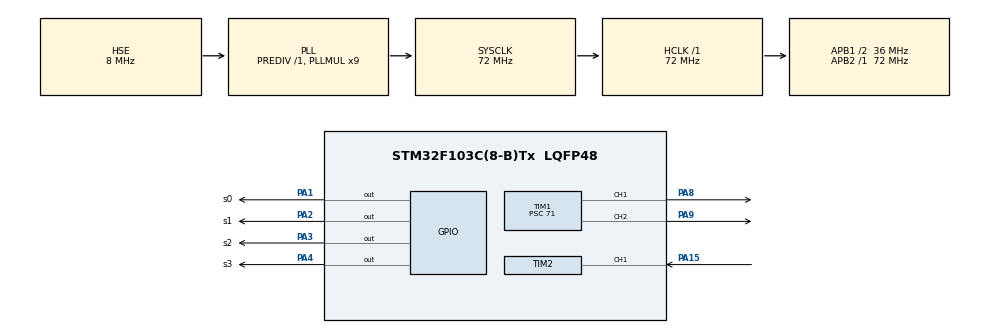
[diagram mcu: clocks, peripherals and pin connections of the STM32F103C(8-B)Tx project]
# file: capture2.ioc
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Mcu.Family=STM32F1
Mcu.Name=STM32F103C(8-B)Tx
Mcu.Package=LQFP48
NVIC.PriorityGroup=NVIC_PRIORITYGROUP_4
NVIC.TIM1_CC_IRQn=true\:0\:0\:false\:false\:true\:true\:true\:true
NVIC.TIM2_IRQn=true\:0\:0\:false\:false\:true\:true\:true\:true
PA1.GPIO_Label=s0
PA1.Signal=GPIO_Output
PA13.Mode=Serial_Wire
PA13.Signal=SYS_JTMS-SWDIO
PA14.Mode=Serial_Wire
PA14.Signal=SYS_JTCK-SWCLK
PA15.Signal=S_TIM2_CH1_ETR
PA2.GPIO_Label=s1
PA2.Signal=GPIO_Output
PA3.GPIO_Label=s2
PA3.Signal=GPIO_Output
PA4.GPIO_Label=s3
PA4.Signal=GPIO_Output
PA8.Signal=S_TIM1_CH1
PA9.Signal=S_TIM1_CH2
PD0-OSC_IN.Mode=HSE-External-Oscillator
PD0-OSC_IN.Signal=RCC_OSC_IN
PD1-OSC_OUT.Mode=HSE-External-Oscillator
PD1-OSC_OUT.Signal=RCC_OSC_OUT
ProjectManager.HeapSize=0x200
ProjectManager.StackSize=0x400
ProjectManager.TargetToolchain=MDK-ARM V5
RCC.AHBFreq_Value=72000000
RCC.APB1CLKDivider=RCC_HCLK_DIV2
RCC.APB1Freq_Value=36000000
RCC.APB1TimFreq_Value=72000000
RCC.APB2Freq_Value=72000000
RCC.APB2TimFreq_Value=72000000
RCC.HCLKFreq_Value=72000000
RCC.PLLMUL=RCC_PLL_MUL9
RCC.PLLSourceVirtual=RCC_PLLSOURCE_HSE
RCC.SYSCLKFreq_VALUE=72000000
RCC.SYSCLKSource=RCC_SYSCLKSOURCE_PLLCLK
RCC.USBFreq_Value=72000000
SH.S_TIM1_CH1.0=TIM1_CH1,PWM Generation1 CH1
SH.S_TIM1_CH2.0=TIM1_CH2,PWM Generation2 CH2
SH.S_TIM2_CH1_ETR.0=TIM2_CH1,Input_Capture1_from_TI1
TIM1.Channel-PWM\ Generation1\ CH1=TIM_CHANNEL_1
TIM1.Channel-PWM\ Generation2\ CH2=TIM_CHANNEL_2
TIM1.Prescaler=71
TIM2.Channel-Input_Capture1_from_TI1=TIM_CHANNEL_1
TIM2.Prescaler=71
VP_TIM1_VS_ClockSourceINT.Mode=Internal
VP_TIM2_VS_ClockSourceINT.Mode=Internal
board=custom

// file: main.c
/* USER CODE BEGIN Header */
/**
  ******************************************************************************
  * @file           : main.c
  * @brief          : Main program body
  ******************************************************************************
  * @attention
  *
  * Copyright (c) 2025 STMicroelectronics.
  * All rights reserved.
  *
  * This software is licensed under terms that can be found in the LICENSE file
  * in the root directory of this software component.
  * If no LICENSE file comes with this software, it is provided AS-IS.
  *
  ******************************************************************************
  */
/* USER CODE END Header */
#include "main.h"

TIM_HandleTypeDef htim1;
TIM_HandleTypeDef htim2;

void SystemClock_Config(void);
static void MX_GPIO_Init(void);
static void MX_TIM1_Init(void);
static void MX_TIM2_Init(void);

/* USER CODE BEGIN 0 */
uint32_t IC_Val1 = 0;
uint32_t IC_Val2 = 0;
uint32_t Difference = 0;
uint8_t Is_First_Captured = 0;  // flag

uint32_t r = 0;
uint32_t g = 0;
uint32_t b = 0;
//uint32_t clear = 0 ;
uint32_t mau = -1;
int color[4][6] = {0};
int goc = -1;
//uint32_t n_r = 0;
//uint32_t n_g = 0;
//uint32_t n_b = 0;

void Servo_Init(){
	HAL_TIM_PWM_Start(&htim1 ,TIM_CHANNEL_1);
	HAL_TIM_PWM_Start(&htim1 ,TIM_CHANNEL_2);
}

void initColor(){

////////////////////////mau do
  color[0][0] =  90; //Min R
  color[0][1] =  115; //Max R

  color[0][2] =  150;//Min G
  color[0][3] =  200; //Max G

  color[0][4] =   105;//Min B
  color[0][5] =   140;//Max B
////////////////////////////////// mau xanh
  color[1][0] =  160; //Min R
  color[1][1] =  240; //Max R

  color[1][2] =  100;//Min G
  color[1][3] =  150; //Max G

  color[1][4] =   55;//Min B
  color[1][5] =   90;//Max B
//////////////////////////////////// xanh la
  color[2][0] =  150; //Min R
  color[2][1] =  180; //Max R

  color[2][2] =  115;//Min G
  color[2][3] =  140; //Max G

  color[2][4] =   115;//Min B
  color[2][5] =   140;//Max B
/////////////////////////////////////// mau vang
	color[3][0] =  55; //Min R
  color[3][1] =  90; //Max R

  color[3][2] =  70;//Min G
  color[3][3] =  100; //Max G

  color[3][4] =   95;//Min B
  color[3][5] =   120;//Max B
}

void Servo1_Write(uint8_t goc){
	 // 0 -> 180 = 1000 -> 2000
		uint16_t _ccr1 = (1500 * goc) / 180 + 800;
		htim1.Instance->CCR1 = _ccr1;
}
void Servo2_Write(uint8_t goc){
	 // 0 -> 180 = 1000 -> 2000
		uint16_t _ccr2 = (1500 * goc) / 180 + 800;
		htim1.Instance->CCR2 = _ccr2;
}

void Sensor_Init(){
	HAL_TIM_IC_Start_IT(&htim2, TIM_CHANNEL_1);
	HAL_GPIO_WritePin( s0_GPIO_Port, s0_Pin, 1); // chon chia tan so 20%
	HAL_GPIO_WritePin( s1_GPIO_Port, s1_Pin, 0); //0
}

void HAL_TIM_IC_CaptureCallback(TIM_HandleTypeDef *htim)
{
    if(htim->Channel == HAL_TIM_ACTIVE_CHANNEL_1)
    {
        if(Is_First_Captured == 0)
        {
            IC_Val1 = HAL_TIM_ReadCapturedValue(htim, TIM_CHANNEL_1);
            Is_First_Captured = 1;
        }
        else
        {
            IC_Val2 = HAL_TIM_ReadCapturedValue(htim, TIM_CHANNEL_1);
            if(IC_Val2 > IC_Val1)
                Difference = IC_Val2 - IC_Val1;
            else
                Difference = (0xFFFF - IC_Val1 + IC_Val2);

            Is_First_Captured = 0;
        }
    }
}
uint32_t getFrequency(void)
{
    Is_First_Captured = 0;
    Difference = 0;

    HAL_Delay(10);  // doi xung on dinh

    return Difference;  // gi� tr? chu k?, c�ng nh? = t?n s? c�ng cao
}

int readColor()
{
    //////////////////////
    //  READ RED (S2=0,S3=0)
    //////////////////////
		int i = 30;
		r = 0; g = 0; b = 0;
		while(i--){
			HAL_GPIO_WritePin(s2_GPIO_Port, s2_Pin, 0);
			HAL_GPIO_WritePin(s3_GPIO_Port, s3_Pin, 0);
			HAL_Delay(30);
			r += getFrequency();
    //////////////////////
    //  READ GREEN (S2=1,S3=1)
    //////////////////////
			HAL_GPIO_WritePin(s2_GPIO_Port, s2_Pin, 1);
			HAL_GPIO_WritePin(s3_GPIO_Port, s3_Pin, 1);
			HAL_Delay(30);
			g += getFrequency();
    //////////////////////
    //  READ BLUE (S2=0,S3=1)
    //////////////////////
			HAL_GPIO_WritePin(s2_GPIO_Port, s2_Pin, 0);
			HAL_GPIO_WritePin(s3_GPIO_Port, s3_Pin, 1);
			HAL_Delay(30);
			b += getFrequency();
		}

		r /= 30; g /= 30; b /= 30;

		for (int i = 0; i < 4; i++){
			if(r >= color[i][0] && r <= color[i][1] && g >= color[i][2] && g <= color[i][3] && b >= color[i][4] && b <= color[i][5])
				return i;
		}
		return -1;
}

//void normalizeColor(void)
//{
//    if (clear == 0) clear = 1;  // tr�nh chia 0

//    n_r = (r * 100) / clear;
//    n_g = (g * 100) / clear;
//    n_b = (b * 100) / clear;
//}
/* USER CODE END 0 */

int main(void)
{

  /* MCU Configuration--------------------------------------------------------*/

  /* Reset of all peripherals, Initializes the Flash interface and the Systick. */
  HAL_Init();

  /* Configure the system clock */
  SystemClock_Config();

  /* Initialize all configured peripherals */
  MX_GPIO_Init();
  MX_TIM1_Init();
  MX_TIM2_Init();
  /* USER CODE BEGIN 2 */
	Sensor_Init();
	Servo_Init();
	initColor();

  /* USER CODE END 2 */

  /* Infinite loop */
  /* USER CODE BEGIN WHILE */
  while (1)
  {

//		Servo1_Write(170);
//		HAL_Delay(1000);
		Servo1_Write(85);
	//	HAL_Delay(1000);
		mau = readColor();
		HAL_Delay(500);

//		Servo1_Write(15);
//		HAL_Delay(1000);
//

	//	HAL_Delay(200);
		switch(mau){
			case 0:
				Servo2_Write(0);
				HAL_Delay(200);
				Servo1_Write(15);
				HAL_Delay(1000);
				break;
			case 1:
				Servo2_Write(36);
				HAL_Delay(200);
				Servo1_Write(15);
				HAL_Delay(1000);
				break;
			case 2:
				Servo2_Write(72);
				HAL_Delay(200);
				Servo1_Write(15);
				HAL_Delay(1000);
				break;
			case 3:
				Servo2_Write(105);
				HAL_Delay(200);
				Servo1_Write(15);
				HAL_Delay(1000);
			default:
				Servo2_Write(144);
				HAL_Delay(200);
				Servo1_Write(15);
				HAL_Delay(1000);
				break;
		}
		Servo1_Write(170);
		HAL_Delay(1000);

//		for (int i = 0; i <= 144; i += 36){
//			Servo2_Write(i);
//			HAL_Delay(500);
//		}

//		for (int i = 0; i <= 180; i++){
//			Servo2_Write(i);
//			HAL_Delay(20);
//		}
//
    /* USER CODE END WHILE */

  }
}

void SystemClock_Config(void)
{
  RCC_OscInitTypeDef RCC_OscInitStruct = {0};
  RCC_ClkInitTypeDef RCC_ClkInitStruct = {0};

  /** Initializes the RCC Oscillators according to the specified parameters
  * in the RCC_OscInitTypeDef structure.
  */
  RCC_OscInitStruct.OscillatorType = RCC_OSCILLATORTYPE_HSE;
  RCC_OscInitStruct.HSEState = RCC_HSE_ON;
  RCC_OscInitStruct.HSEPredivValue = RCC_HSE_PREDIV_DIV1;
  RCC_OscInitStruct.HSIState = RCC_HSI_ON;
  RCC_OscInitStruct.PLL.PLLState = RCC_PLL_ON;
  RCC_OscInitStruct.PLL.PLLSource = RCC_PLLSOURCE_HSE;
  RCC_OscInitStruct.PLL.PLLMUL = RCC_PLL_MUL9;
  if (HAL_RCC_OscConfig(&RCC_OscInitStruct) != HAL_OK)
  {
    Error_Handler();
  }

  /** Initializes the CPU, AHB and APB buses clocks
  */
  RCC_ClkInitStruct.ClockType = RCC_CLOCKTYPE_HCLK|RCC_CLOCKTYPE_SYSCLK
                              |RCC_CLOCKTYPE_PCLK1|RCC_CLOCKTYPE_PCLK2;
  RCC_ClkInitStruct.SYSCLKSource = RCC_SYSCLKSOURCE_PLLCLK;
  RCC_ClkInitStruct.AHBCLKDivider = RCC_SYSCLK_DIV1;
  RCC_ClkInitStruct.APB1CLKDivider = RCC_HCLK_DIV2;
  RCC_ClkInitStruct.APB2CLKDivider = RCC_HCLK_DIV1;

  if (HAL_RCC_ClockConfig(&RCC_ClkInitStruct, FLASH_LATENCY_2) != HAL_OK)
  {
    Error_Handler();
  }
}

static void MX_TIM1_Init(void)
{

  TIM_ClockConfigTypeDef sClockSourceConfig = {0};
  TIM_MasterConfigTypeDef sMasterConfig = {0};
  TIM_OC_InitTypeDef sConfigOC = {0};
  TIM_BreakDeadTimeConfigTypeDef sBreakDeadTimeConfig = {0};

  htim1.Instance = TIM1;
  htim1.Init.Prescaler = 71;
  htim1.Init.CounterMode = TIM_COUNTERMODE_UP;
  htim1.Init.Period = 65535;
  htim1.Init.ClockDivision = TIM_CLOCKDIVISION_DIV1;
  htim1.Init.RepetitionCounter = 0;
  htim1.Init.AutoReloadPreload = TIM_AUTORELOAD_PRELOAD_DISABLE;
  if (HAL_TIM_Base_Init(&htim1) != HAL_OK)
  {
    Error_Handler();
  }
  sClockSourceConfig.ClockSource = TIM_CLOCKSOURCE_INTERNAL;
  if (HAL_TIM_ConfigClockSource(&htim1, &sClockSourceConfig) != HAL_OK)
  {
    Error_Handler();
  }
  if (HAL_TIM_PWM_Init(&htim1) != HAL_OK)
  {
    Error_Handler();
  }
  sMasterConfig.MasterOutputTrigger = TIM_TRGO_RESET;
  sMasterConfig.MasterSlaveMode = TIM_MASTERSLAVEMODE_DISABLE;
  if (HAL_TIMEx_MasterConfigSynchronization(&htim1, &sMasterConfig) != HAL_OK)
  {
    Error_Handler();
  }
  sConfigOC.OCMode = TIM_OCMODE_PWM1;
  sConfigOC.Pulse = 0;
  sConfigOC.OCPolarity = TIM_OCPOLARITY_HIGH;
  sConfigOC.OCNPolarity = TIM_OCNPOLARITY_HIGH;
  sConfigOC.OCFastMode = TIM_OCFAST_DISABLE;
  sConfigOC.OCIdleState = TIM_OCIDLESTATE_RESET;
  sConfigOC.OCNIdleState = TIM_OCNIDLESTATE_RESET;
  if (HAL_TIM_PWM_ConfigChannel(&htim1, &sConfigOC, TIM_CHANNEL_1) != HAL_OK)
  {
    Error_Handler();
  }
  if (HAL_TIM_PWM_ConfigChannel(&htim1, &sConfigOC, TIM_CHANNEL_2) != HAL_OK)
  {
    Error_Handler();
  }
  sBreakDeadTimeConfig.OffStateRunMode = TIM_OSSR_DISABLE;
  sBreakDeadTimeConfig.OffStateIDLEMode = TIM_OSSI_DISABLE;
  sBreakDeadTimeConfig.LockLevel = TIM_LOCKLEVEL_OFF;
  sBreakDeadTimeConfig.DeadTime = 0;
  sBreakDeadTimeConfig.BreakState = TIM_BREAK_DISABLE;
  sBreakDeadTimeConfig.BreakPolarity = TIM_BREAKPOLARITY_HIGH;
  sBreakDeadTimeConfig.AutomaticOutput = TIM_AUTOMATICOUTPUT_DISABLE;
  if (HAL_TIMEx_ConfigBreakDeadTime(&htim1, &sBreakDeadTimeConfig) != HAL_OK)
  {
    Error_Handler();
  }
  HAL_TIM_MspPostInit(&htim1);

}

static void MX_TIM2_Init(void)
{

  TIM_ClockConfigTypeDef sClockSourceConfig = {0};
  TIM_MasterConfigTypeDef sMasterConfig = {0};
  TIM_IC_InitTypeDef sConfigIC = {0};

  htim2.Instance = TIM2;
  htim2.Init.Prescaler = 71;
  htim2.Init.CounterMode = TIM_COUNTERMODE_UP;
  htim2.Init.Period = 65535;
  htim2.Init.ClockDivision = TIM_CLOCKDIVISION_DIV1;
  htim2.Init.AutoReloadPreload = TIM_AUTORELOAD_PRELOAD_DISABLE;
  if (HAL_TIM_Base_Init(&htim2) != HAL_OK)
  {
    Error_Handler();
  }
  sClockSourceConfig.ClockSource = TIM_CLOCKSOURCE_INTERNAL;
  if (HAL_TIM_ConfigClockSource(&htim2, &sClockSourceConfig) != HAL_OK)
  {
    Error_Handler();
  }
  if (HAL_TIM_IC_Init(&htim2) != HAL_OK)
  {
    Error_Handler();
  }
  sMasterConfig.MasterOutputTrigger = TIM_TRGO_RESET;
  sMasterConfig.MasterSlaveMode = TIM_MASTERSLAVEMODE_DISABLE;
  if (HAL_TIMEx_MasterConfigSynchronization(&htim2, &sMasterConfig) != HAL_OK)
  {
    Error_Handler();
  }
  sConfigIC.ICPolarity = TIM_INPUTCHANNELPOLARITY_RISING;
  sConfigIC.ICSelection = TIM_ICSELECTION_DIRECTTI;
  sConfigIC.ICPrescaler = TIM_ICPSC_DIV1;
  sConfigIC.ICFilter = 0;
  if (HAL_TIM_IC_ConfigChannel(&htim2, &sConfigIC, TIM_CHANNEL_1) != HAL_OK)
  {
    Error_Handler();
  }

}

static void MX_GPIO_Init(void)
{
  GPIO_InitTypeDef GPIO_InitStruct = {0};

  /* GPIO Ports Clock Enable */
  __HAL_RCC_GPIOD_CLK_ENABLE();
  __HAL_RCC_GPIOA_CLK_ENABLE();

  /*Configure GPIO pin Output Level */
  HAL_GPIO_WritePin(GPIOA, s0_Pin|s1_Pin|s2_Pin|s3_Pin, GPIO_PIN_RESET);

  /*Configure GPIO pins : s0_Pin s1_Pin s2_Pin s3_Pin */
  GPIO_InitStruct.Pin = s0_Pin|s1_Pin|s2_Pin|s3_Pin;
  GPIO_InitStruct.Mode = GPIO_MODE_OUTPUT_PP;
  GPIO_InitStruct.Pull = GPIO_NOPULL;
  GPIO_InitStruct.Speed = GPIO_SPEED_FREQ_LOW;
  HAL_GPIO_Init(GPIOA, &GPIO_InitStruct);

}

void Error_Handler(void)
{
  __disable_irq();
  while (1)
  {
  }
}
